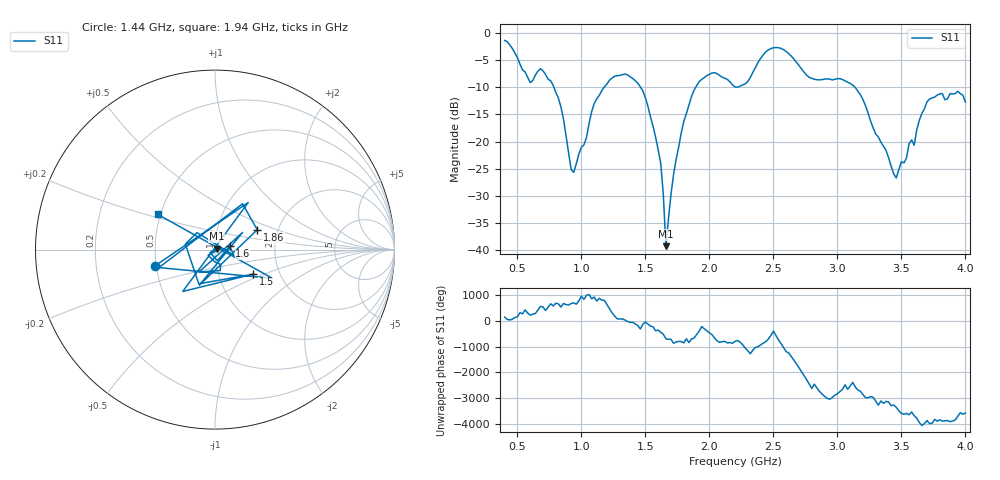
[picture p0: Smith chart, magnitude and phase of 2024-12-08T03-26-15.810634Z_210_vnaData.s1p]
!Created with skrf (http://scikit-rf.org).
# Hz S RI R 50.0
!freq ReS11 ImS11
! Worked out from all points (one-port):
!   181 points, 400 MHz to 4 GHz, reference 50 ohm
!   lowest |S11| = -39.4 dB at 1.66 GHz (marker M1), VSWR 1.02, Z = 50.9 + j0.602 ohm
!   |S11| at or under -10 dB: 785.6 MHz to 1.176 GHz (390.8 MHz wide, 39.8 % of centre); 1.463 GHz to 1.892 GHz (429 MHz wide, 25.6 % of centre); 3.139 GHz to end of sweep
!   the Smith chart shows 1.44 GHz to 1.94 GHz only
!   S11 on the Smith chart (normalised r, x): 1.44 GHz: 0.49, -0.10; 1.5 GHz: 1.47, -0.43; 1.6 GHz: 1.18, +0.04; 1.86 GHz: 1.56, +0.37; 1.94 GHz: 0.48, +0.22
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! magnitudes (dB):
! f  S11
! 400 MHz  -1.3
! 600 MHz  -9.1
! 680 MHz  -6.5
! 760 MHz  -8.8
! 860 MHz  -15.8
! 920 MHz  -25.2
! 940 MHz  -25.7
! 1.1 GHz  -13.0
! 1.3 GHz  -7.8
! 1.44 GHz  -9.2
! 1.5 GHz  -11.9
! 1.6 GHz  -21.5
! 1.64 GHz  -29.9
! 1.66 GHz  -39.4
! 1.72 GHz  -26.1
! 1.76 GHz  -21.0
! 1.86 GHz  -11.7
! 1.94 GHz  -8.5
! 2.2 GHz  -9.9
! 2.48 GHz  -2.8
! 2.66 GHz  -4.7
! 2.78 GHz  -8.1
! 3.1 GHz  -9.2
! 3.46 GHz  -26.7
! 3.56 GHz  -20.4
! 3.6 GHz  -20.7
! 3.72 GHz  -12.2
! 4 GHz  -12.7
